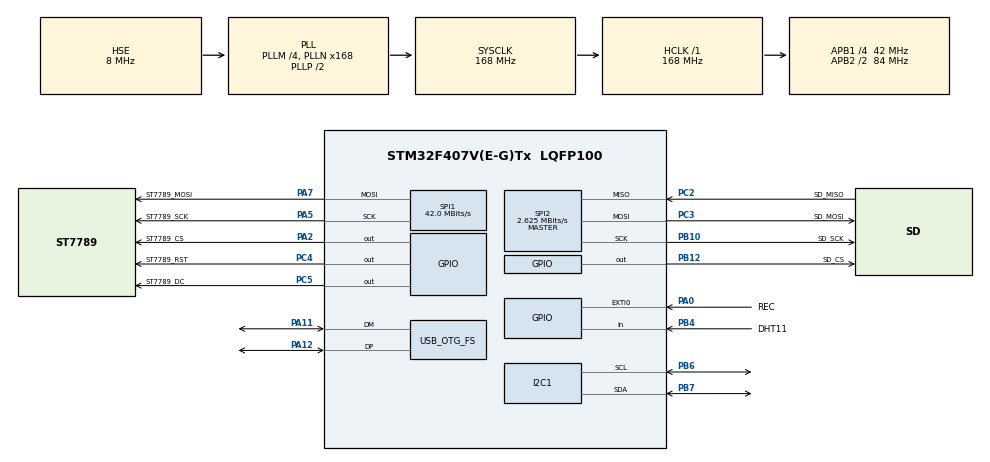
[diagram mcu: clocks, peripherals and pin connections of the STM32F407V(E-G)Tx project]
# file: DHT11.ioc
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Mcu.Family=STM32F4
Mcu.Name=STM32F407V(E-G)Tx
Mcu.Package=LQFP100
NVIC.EXTI0_IRQn=true\:0\:0\:false\:false\:true\:true\:true\:true
NVIC.OTG_FS_IRQn=true\:0\:0\:false\:false\:true\:false\:true\:true
NVIC.PriorityGroup=NVIC_PRIORITYGROUP_4
PA0-WKUP.GPIO_Label=REC
PA0-WKUP.Signal=GPXTI0
PA11.Mode=Device_Only
PA11.Signal=USB_OTG_FS_DM
PA12.Mode=Device_Only
PA12.Signal=USB_OTG_FS_DP
PA13.Mode=Serial_Wire
PA13.Signal=SYS_JTMS-SWDIO
PA14.Mode=Serial_Wire
PA14.Signal=SYS_JTCK-SWCLK
PA2.GPIO_Label=ST7789_CS
PA2.PinState=GPIO_PIN_SET
PA2.Signal=GPIO_Output
PA5.GPIO_Label=ST7789_SCK
PA5.Mode=TX_Only_Simplex_Unidirect_Master
PA5.Signal=SPI1_SCK
PA7.GPIO_Label=ST7789_MOSI
PA7.Mode=TX_Only_Simplex_Unidirect_Master
PA7.Signal=SPI1_MOSI
PB10.GPIO_Label=SD_SCK
PB10.Mode=Full_Duplex_Master
PB10.Signal=SPI2_SCK
PB12.GPIO_Label=SD_CS
PB12.PinState=GPIO_PIN_SET
PB12.Signal=GPIO_Output
PB4.GPIO_Label=DHT11
PB4.Signal=GPIO_Input
PB6.Mode=I2C
PB6.Signal=I2C1_SCL
PB7.Mode=I2C
PB7.Signal=I2C1_SDA
PC14-OSC32_IN.Mode=LSE-External-Oscillator
PC14-OSC32_IN.Signal=RCC_OSC32_IN
PC15-OSC32_OUT.Mode=LSE-External-Oscillator
PC15-OSC32_OUT.Signal=RCC_OSC32_OUT
PC2.GPIO_Label=SD_MISO
PC2.Mode=Full_Duplex_Master
PC2.Signal=SPI2_MISO
PC3.GPIO_Label=SD_MOSI
PC3.Mode=Full_Duplex_Master
PC3.Signal=SPI2_MOSI
PC4.GPIO_Label=ST7789_RST
PC4.Signal=GPIO_Output
PC5.GPIO_Label=ST7789_DC
PC5.Signal=GPIO_Output
PH0-OSC_IN.Mode=HSE-External-Oscillator
PH0-OSC_IN.Signal=RCC_OSC_IN
PH1-OSC_OUT.Mode=HSE-External-Oscillator
PH1-OSC_OUT.Signal=RCC_OSC_OUT
ProjectManager.HeapSize=0x200
ProjectManager.StackSize=0x400
ProjectManager.TargetToolchain=MDK-ARM V5.32
RCC.48MHZClocksFreq_Value=48000000
RCC.AHBFreq_Value=168000000
RCC.APB1CLKDivider=RCC_HCLK_DIV4
RCC.APB1Freq_Value=42000000
RCC.APB1TimFreq_Value=84000000
RCC.APB2CLKDivider=RCC_HCLK_DIV2
RCC.APB2Freq_Value=84000000
RCC.APB2TimFreq_Value=168000000
RCC.CortexFreq_Value=168000000
RCC.HCLKFreq_Value=168000000
RCC.HSE_VALUE=8000000
RCC.HSI_VALUE=16000000
RCC.PLLM=4
RCC.PLLN=168
RCC.PLLQ=7
RCC.SYSCLKFreq_VALUE=168000000
RCC.SYSCLKSource=RCC_SYSCLKSOURCE_PLLCLK
RCC.VCOOutputFreq_Value=336000000
SPI1.BaudRatePrescaler=SPI_BAUDRATEPRESCALER_2
SPI1.CalculateBaudRate=42.0 MBits/s
SPI1.Direction=SPI_DIRECTION_2LINES
SPI1.Mode=SPI_MODE_MASTER
SPI1.VirtualType=VM_MASTER
SPI2.BaudRatePrescaler=SPI_BAUDRATEPRESCALER_16
SPI2.CalculateBaudRate=2.625 MBits/s
SPI2.Direction=SPI_DIRECTION_2LINES
SPI2.Mode=SPI_MODE_MASTER
SPI2.VirtualType=VM_MASTER
USB_DEVICE.CLASS_NAME_FS=CDC
USB_DEVICE.VirtualMode-CDC_FS=Cdc
USB_DEVICE.VirtualModeFS=Cdc_FS
USB_OTG_FS.VirtualMode=Device_Only
VP_FATFS_VS_Generic.Mode=User_defined
VP_USB_DEVICE_VS_USB_DEVICE_CDC_FS.Mode=CDC_FS
board=custom

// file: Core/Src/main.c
/* USER CODE BEGIN Header */
/**
  ******************************************************************************
  * @file           : main.c
  * @brief          : Main program body
  ******************************************************************************
  * @attention
  *
  * Copyright (c) 2022 STMicroelectronics.
  * All rights reserved.
  *
  * This software is licensed under terms that can be found in the LICENSE file
  * in the root directory of this software component.
  * If no LICENSE file comes with this software, it is provided AS-IS.
  *
  ******************************************************************************
  */
/* USER CODE END Header */
#include "main.h"
#include "fatfs.h"
#include "usb_device.h"

/* USER CODE BEGIN Includes */
#include "DHT.h"
#include "ds3231.h"
#include "st7789.h"
#include <string.h>
#define textColor LIGHTBLUE//0x2a1a//BLACK
#define bgColor BLACK//0xdefb
/* USER CODE END Includes */

/* USER CODE BEGIN PM */
FATFS fs;
FATFS *pfs;
FIL fil;
DWORD fre_clust;
uint32_t totalSpace, freeSpace;
char buf[70];
uint8_t recStatus=0;
uint8_t recFlash=1;
uint8_t fileOpenFlag=0;
uint8_t fileCloseFlag=0;
struct tm timestamp;
time_t unixTime = 0;
/* USER CODE END PM */

I2C_HandleTypeDef hi2c1;

SPI_HandleTypeDef hspi1;
SPI_HandleTypeDef hspi2;

void SystemClock_Config(void);
static void MX_GPIO_Init(void);
static void MX_I2C1_Init(void);
static void MX_SPI1_Init(void);
static void MX_SPI2_Init(void);

/* USER CODE BEGIN 0 */
time_t getUNIX(void)
{
	timestamp.tm_year = DS3231_GetYear();
	timestamp.tm_mon  = DS3231_GetMonth();
	timestamp.tm_mday = DS3231_GetDate();
	timestamp.tm_hour = DS3231_GetHour();
	timestamp.tm_min  = DS3231_GetMinute();
	timestamp.tm_sec  = DS3231_GetSecond();
	timestamp.tm_year -= 1900;
	timestamp.tm_mon -= 1;
	timestamp.tm_isdst = 0;
	unixTime = mktime(&timestamp);
	return unixTime;
}
/* USER CODE END 0 */

int main(void)
{
  /* USER CODE BEGIN 1 */
	static DHT_sensor livingRoom = {DHT11_GPIO_Port, DHT11_Pin, DHT11, GPIO_NOPULL};
	DS3231_Init(&hi2c1);
  /* USER CODE END 1 */

  /* MCU Configuration--------------------------------------------------------*/

  /* Reset of all peripherals, Initializes the Flash interface and the Systick. */
  HAL_Init();

  /* Configure the system clock */
  SystemClock_Config();

  /* Initialize all configured peripherals */
  MX_GPIO_Init();
  MX_I2C1_Init();
  MX_SPI1_Init();
  MX_USB_DEVICE_Init();
  MX_SPI2_Init();
  MX_FATFS_Init();
  /* USER CODE BEGIN 2 */
	ST7789_Init();
	ST7789_Fill_Color(bgColor);
	ST7789_WriteString(10, 30, "MAX 65.3", Font_11x18, textColor, bgColor);
	ST7789_WriteString(10, 60, "MIN 51.4", Font_11x18, textColor, bgColor);
	ST7789_WriteString(203, 40, "o", Font_7x10, textColor, bgColor);
	ST7789_WriteString(210, 40, "C", Font_11x18, textColor, bgColor);
	ST7789_WriteString(210, 108, "%", Font_11x18, textColor, bgColor);
//	ST7789_WriteString(70, 108, "HUM", Font_11x18, textColor, bgColor);
	ST7789_WriteString(7, 190, "RUN TIME", Font_11x18, textColor, bgColor);
	ST7789_WriteString(100, 210, "DAYS  HR:MIN", Font_11x18, textColor, bgColor);

	uint8_t fresult;
	fresult = f_mount(&fs, "/", 1);
	sprintf(buf,(fresult != FR_OK) ? "ERROR!!! in mounting SD CARD...\n\n" : "SD CARD mounted successfully...\n\n");
	CDC_Transmit_FS((uint8_t*)buf,strlen(buf));

//	fresult = f_getfree("/", &fre_clust, &pfs);
//	printf("Error in checking size");
//
//	totalSpace = (uint32_t)((pfs->n_fatent - 2) * pfs->csize * 0.5);
//	freeSpace = (uint32_t)(fre_clust * pfs->csize * 0.5);

	//ST7789_DrawFilledRectangle(0,0,100,100,RED);
  /* USER CODE END 2 */

  /* Infinite loop */
  /* USER CODE BEGIN WHILE */
	float maxTemp=0,minTemp=100;
	char unixTimeBuf[15];
  while (1)
  {

    /* USER CODE END WHILE */

    /* USER CODE BEGIN 3 */
		//sprintf(buf,"%ld\n",(long)getUNIX());
		//CDC_Transmit_FS((uint8_t*)buf,strlen(buf));

		DHT_data d = DHT_getData(&livingRoom);
		maxTemp = ( maxTemp < d.temp ) ?  d.temp : maxTemp;
		minTemp = ( minTemp < d.temp ) ?  minTemp  : d.temp;

		sprintf(buf, "%0.1f", d.temp);
		ST7789_WriteString(135, 40, buf, Font_16x26, textColor, bgColor);

		sprintf(buf, "%0.1f", d.hum);
		ST7789_WriteString(135, 108, buf, Font_16x26, textColor, bgColor);

		sprintf(buf, "MAX %0.1f", maxTemp);
		ST7789_WriteString(10, 30, buf, Font_11x18, textColor, bgColor);
		sprintf(buf, "MIN %0.1f", minTemp);
		ST7789_WriteString(10, 60, buf, Font_11x18, textColor, bgColor);

		sprintf(buf ,"%02d %02d:%02d" ,DS3231_GetDate(),DS3231_GetHour(),DS3231_GetMinute());
		ST7789_WriteString(105, 175, buf, Font_16x26, textColor, bgColor);
		//ST7789_WriteString(65, 150, buf, Font_11x18, textColor, bgColor);
		//sprintf(buf, "%d : %d : %d",DS3231_GetHour(),DS3231_GetMinute(),DS3231_GetSecond());
		//ST7789_WriteString(55, 180, buf, Font_11x18, textColor, bgColor);

		if (recStatus) {
			if (recFlash) {
				ST7789_WriteString(50, 108, "REC", Font_11x18, textColor, bgColor);
				ST7789_WriteString(90, 106, "o", Font_11x18, textColor, bgColor);
			}
			else
			{
				ST7789_WriteString(50, 108, "      ", Font_11x18, textColor, bgColor);
			}
			recFlash= !recFlash;

			if(fileOpenFlag==1) {
				sprintf(unixTimeBuf,"%ld",(long)unixTime);
				sprintf(&unixTimeBuf[8],".txt",(long)unixTime);
				fresult = f_open(&fil, unixTimeBuf, FA_OPEN_APPEND | FA_WRITE | FA_READ);
				sprintf(buf,(fresult != FR_OK) ? "Error in Opening File\n" :"File opened succesfully\n");
				CDC_Transmit_FS((uint8_t*)buf,strlen(buf));
				fileOpenFlag=2;
				fileCloseFlag =1;
			}

			sprintf(buf ,"%02d/%02d/%02d -> %02d:%02d:%02d\nTemp : %0.2f\nHum : %0.2f\n" ,DS3231_GetDate(),DS3231_GetMonth(),DS3231_GetYear(),DS3231_GetHour(),DS3231_GetMinute(),DS3231_GetSecond(),d.temp,d.hum);
			fresult = f_puts(buf, &fil);
			sprintf(buf,(fresult < 0) ? "Unable to write on file\n" : "Data written in file\n");
			CDC_Transmit_FS((uint8_t*)buf,strlen(buf));

		}
		else
		{
			ST7789_WriteString(50, 108, "      ", Font_11x18, textColor, bgColor);
			if(fileCloseFlag==1) {
				fresult = f_close(&fil);
				sprintf(buf,(fresult != FR_OK) ? "Error in closing file\n" : "File closed succesfully\n");
				CDC_Transmit_FS((uint8_t*)buf,strlen(buf));
				fileCloseFlag=0;
			}
		}

		HAL_Delay(1000);
  }
  /* USER CODE END 3 */
}

void SystemClock_Config(void)
{
  RCC_OscInitTypeDef RCC_OscInitStruct = {0};
  RCC_ClkInitTypeDef RCC_ClkInitStruct = {0};

  /** Configure the main internal regulator output voltage
  */
  __HAL_RCC_PWR_CLK_ENABLE();
  __HAL_PWR_VOLTAGESCALING_CONFIG(PWR_REGULATOR_VOLTAGE_SCALE1);

  /** Initializes the RCC Oscillators according to the specified parameters
  * in the RCC_OscInitTypeDef structure.
  */
  RCC_OscInitStruct.OscillatorType = RCC_OSCILLATORTYPE_HSE;
  RCC_OscInitStruct.HSEState = RCC_HSE_ON;
  RCC_OscInitStruct.PLL.PLLState = RCC_PLL_ON;
  RCC_OscInitStruct.PLL.PLLSource = RCC_PLLSOURCE_HSE;
  RCC_OscInitStruct.PLL.PLLM = 4;
  RCC_OscInitStruct.PLL.PLLN = 168;
  RCC_OscInitStruct.PLL.PLLP = RCC_PLLP_DIV2;
  RCC_OscInitStruct.PLL.PLLQ = 7;
  if (HAL_RCC_OscConfig(&RCC_OscInitStruct) != HAL_OK)
  {
    Error_Handler();
  }

  /** Initializes the CPU, AHB and APB buses clocks
  */
  RCC_ClkInitStruct.ClockType = RCC_CLOCKTYPE_HCLK|RCC_CLOCKTYPE_SYSCLK
                              |RCC_CLOCKTYPE_PCLK1|RCC_CLOCKTYPE_PCLK2;
  RCC_ClkInitStruct.SYSCLKSource = RCC_SYSCLKSOURCE_PLLCLK;
  RCC_ClkInitStruct.AHBCLKDivider = RCC_SYSCLK_DIV1;
  RCC_ClkInitStruct.APB1CLKDivider = RCC_HCLK_DIV4;
  RCC_ClkInitStruct.APB2CLKDivider = RCC_HCLK_DIV2;

  if (HAL_RCC_ClockConfig(&RCC_ClkInitStruct, FLASH_LATENCY_5) != HAL_OK)
  {
    Error_Handler();
  }
}

static void MX_I2C1_Init(void)
{

  hi2c1.Instance = I2C1;
  hi2c1.Init.ClockSpeed = 100000;
  hi2c1.Init.DutyCycle = I2C_DUTYCYCLE_2;
  hi2c1.Init.OwnAddress1 = 0;
  hi2c1.Init.AddressingMode = I2C_ADDRESSINGMODE_7BIT;
  hi2c1.Init.DualAddressMode = I2C_DUALADDRESS_DISABLE;
  hi2c1.Init.OwnAddress2 = 0;
  hi2c1.Init.GeneralCallMode = I2C_GENERALCALL_DISABLE;
  hi2c1.Init.NoStretchMode = I2C_NOSTRETCH_DISABLE;
  if (HAL_I2C_Init(&hi2c1) != HAL_OK)
  {
    Error_Handler();
  }

}

static void MX_SPI1_Init(void)
{

  /* SPI1 parameter configuration*/
  hspi1.Instance = SPI1;
  hspi1.Init.Mode = SPI_MODE_MASTER;
  hspi1.Init.Direction = SPI_DIRECTION_2LINES;
  hspi1.Init.DataSize = SPI_DATASIZE_8BIT;
  hspi1.Init.CLKPolarity = SPI_POLARITY_LOW;
  hspi1.Init.CLKPhase = SPI_PHASE_1EDGE;
  hspi1.Init.NSS = SPI_NSS_SOFT;
  hspi1.Init.BaudRatePrescaler = SPI_BAUDRATEPRESCALER_2;
  hspi1.Init.FirstBit = SPI_FIRSTBIT_MSB;
  hspi1.Init.TIMode = SPI_TIMODE_DISABLE;
  hspi1.Init.CRCCalculation = SPI_CRCCALCULATION_DISABLE;
  hspi1.Init.CRCPolynomial = 10;
  if (HAL_SPI_Init(&hspi1) != HAL_OK)
  {
    Error_Handler();
  }

}

static void MX_SPI2_Init(void)
{

  /* SPI2 parameter configuration*/
  hspi2.Instance = SPI2;
  hspi2.Init.Mode = SPI_MODE_MASTER;
  hspi2.Init.Direction = SPI_DIRECTION_2LINES;
  hspi2.Init.DataSize = SPI_DATASIZE_8BIT;
  hspi2.Init.CLKPolarity = SPI_POLARITY_LOW;
  hspi2.Init.CLKPhase = SPI_PHASE_1EDGE;
  hspi2.Init.NSS = SPI_NSS_SOFT;
  hspi2.Init.BaudRatePrescaler = SPI_BAUDRATEPRESCALER_16;
  hspi2.Init.FirstBit = SPI_FIRSTBIT_MSB;
  hspi2.Init.TIMode = SPI_TIMODE_DISABLE;
  hspi2.Init.CRCCalculation = SPI_CRCCALCULATION_DISABLE;
  hspi2.Init.CRCPolynomial = 10;
  if (HAL_SPI_Init(&hspi2) != HAL_OK)
  {
    Error_Handler();
  }

}

static void MX_GPIO_Init(void)
{
  GPIO_InitTypeDef GPIO_InitStruct = {0};

  /* GPIO Ports Clock Enable */
  __HAL_RCC_GPIOC_CLK_ENABLE();
  __HAL_RCC_GPIOH_CLK_ENABLE();
  __HAL_RCC_GPIOA_CLK_ENABLE();
  __HAL_RCC_GPIOB_CLK_ENABLE();

  /*Configure GPIO pin Output Level */
  HAL_GPIO_WritePin(ST7789_CS_GPIO_Port, ST7789_CS_Pin, GPIO_PIN_SET);

  /*Configure GPIO pin Output Level */
  HAL_GPIO_WritePin(GPIOC, ST7789_RST_Pin|ST7789_DC_Pin, GPIO_PIN_RESET);

  /*Configure GPIO pin Output Level */
  HAL_GPIO_WritePin(SD_CS_GPIO_Port, SD_CS_Pin, GPIO_PIN_SET);

  /*Configure GPIO pin : REC_Pin */
  GPIO_InitStruct.Pin = REC_Pin;
  GPIO_InitStruct.Mode = GPIO_MODE_IT_RISING;
  GPIO_InitStruct.Pull = GPIO_NOPULL;
  HAL_GPIO_Init(REC_GPIO_Port, &GPIO_InitStruct);

  /*Configure GPIO pin : ST7789_CS_Pin */
  GPIO_InitStruct.Pin = ST7789_CS_Pin;
  GPIO_InitStruct.Mode = GPIO_MODE_OUTPUT_PP;
  GPIO_InitStruct.Pull = GPIO_NOPULL;
  GPIO_InitStruct.Speed = GPIO_SPEED_FREQ_LOW;
  HAL_GPIO_Init(ST7789_CS_GPIO_Port, &GPIO_InitStruct);

  /*Configure GPIO pins : ST7789_RST_Pin ST7789_DC_Pin */
  GPIO_InitStruct.Pin = ST7789_RST_Pin|ST7789_DC_Pin;
  GPIO_InitStruct.Mode = GPIO_MODE_OUTPUT_PP;
  GPIO_InitStruct.Pull = GPIO_NOPULL;
  GPIO_InitStruct.Speed = GPIO_SPEED_FREQ_LOW;
  HAL_GPIO_Init(GPIOC, &GPIO_InitStruct);

  /*Configure GPIO pin : SD_CS_Pin */
  GPIO_InitStruct.Pin = SD_CS_Pin;
  GPIO_InitStruct.Mode = GPIO_MODE_OUTPUT_PP;
  GPIO_InitStruct.Pull = GPIO_NOPULL;
  GPIO_InitStruct.Speed = GPIO_SPEED_FREQ_LOW;
  HAL_GPIO_Init(SD_CS_GPIO_Port, &GPIO_InitStruct);

  /*Configure GPIO pin : DHT11_Pin */
  GPIO_InitStruct.Pin = DHT11_Pin;
  GPIO_InitStruct.Mode = GPIO_MODE_INPUT;
  GPIO_InitStruct.Pull = GPIO_NOPULL;
  HAL_GPIO_Init(DHT11_GPIO_Port, &GPIO_InitStruct);

  /* EXTI interrupt init*/
  HAL_NVIC_SetPriority(EXTI0_IRQn, 0, 0);
  HAL_NVIC_EnableIRQ(EXTI0_IRQn);

}

/* USER CODE BEGIN 4 */

int fputc(int ch, FILE *f)
{
  ITM_SendChar(ch);
  return(ch);
}

/* USER CODE END 4 */

void Error_Handler(void)
{
  __disable_irq();
  while (1)
  {
  }
}
